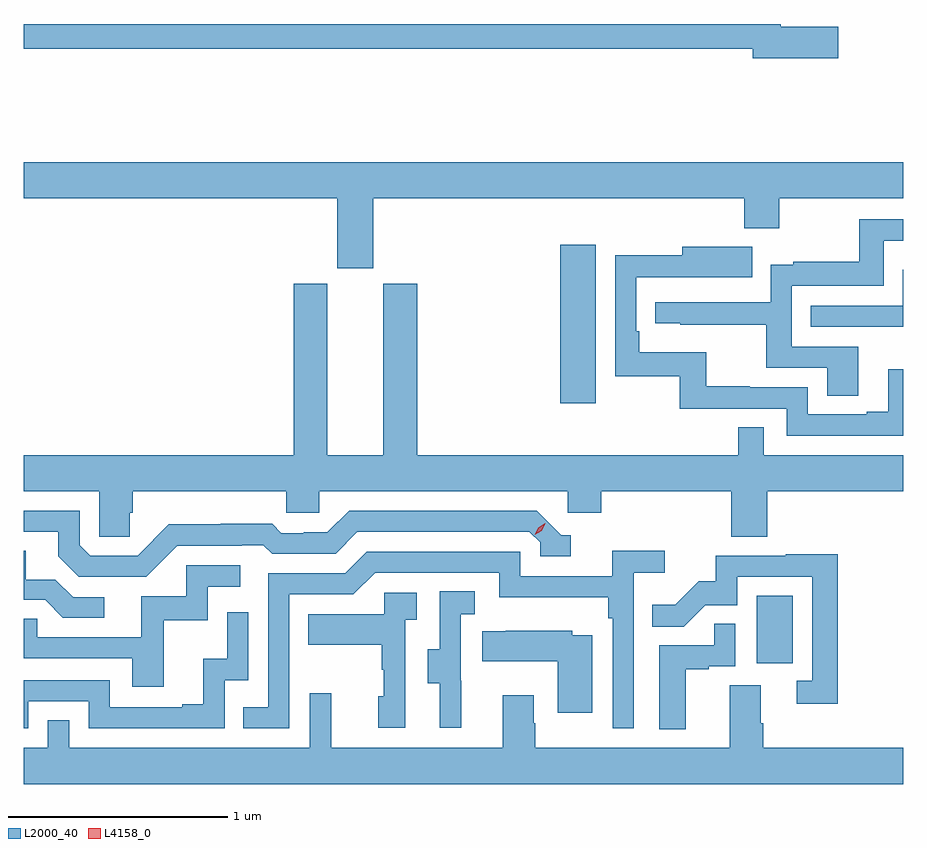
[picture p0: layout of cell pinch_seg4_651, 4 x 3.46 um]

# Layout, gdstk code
import gdstk
lib = gdstk.Library(unit=1e-6, precision=1e-09)
def R(c, l, rs):  # rectangles x0, y0, x1, y1
    for r in rs: c.add(gdstk.rectangle(r[:2], r[2:], *l))
def P(c, l, *ps):  # polygons
    for p in ps: c.add(gdstk.Polygon(p, *l))
L2000_40 = (2000, 40)
L4158_0 = (4158, 0)

pinch_seg4_651 = lib.new_cell('pinch_seg4_651')
R(pinch_seg4_651, L2000_40, [(1058.468,753.414,1058.632,753.721), (1057.574,754.596,1057.735,755.317)])
P(pinch_seg4_651, L2000_40, [(1058.839,756.308),(1058.578,756.308),(1058.578,756.321),(1055.134,756.321),(1055.134,756.208),(1058.45,756.208),(1058.45,756.166),(1058.839,756.166)],
  [(1056.724,755.528),(1058.411,755.528),(1058.411,755.393),(1058.571,755.393),(1058.571,755.528),(1059.134,755.528),(1059.134,755.692),(1055.134,755.692),(1055.134,755.528),(1056.56,755.528),(1056.56,755.211),(1056.724,755.211)],
  [(1058.929,754.854),(1058.628,754.854),(1058.628,755.13),(1059.045,755.13),(1059.045,755.336),(1059.134,755.336),(1059.134,755.433),(1058.934,755.433),(1058.934,755.239),(1058.635,755.239),(1058.635,755.227),(1058.532,755.227),(1058.532,755.055),(1058.007,755.055),(1058.007,754.959),(1058.119,754.959),(1058.119,754.954),(1058.512,754.954),(1058.512,754.758),(1058.789,754.758),(1058.789,754.63),(1058.929,754.63)],
  [(1059.134,754.751),(1059.065,754.751),(1059.065,754.558),(1058.969,754.558),(1058.969,754.545),(1058.7,754.545),(1058.7,754.668),(1058.435,754.668),(1058.435,754.673),(1058.239,754.673),(1058.239,754.828),(1057.934,754.828),(1057.934,754.924),(1057.92,754.924),(1057.92,755.169),(1058.233,755.169),(1058.233,755.168),(1058.447,755.168),(1058.447,755.308),(1058.129,755.308),(1058.129,755.27),(1057.824,755.27),(1057.824,754.719),(1058.118,754.719),(1058.118,754.572),(1058.604,754.572),(1058.604,754.449),(1059.134,754.449)],
  [(1059.134,755.203),(1059.132,755.203),(1059.132,755.04),(1058.713,755.04),(1058.713,754.944),(1059.134,754.944)],
  [(1055.615,754.098),(1055.63,754.098),(1055.63,754.196),(1056.327,754.196),(1056.327,754.098),(1056.477,754.098),(1056.477,754.196),(1057.608,754.196),(1057.608,754.098),(1057.76,754.098),(1057.76,754.196),(1058.351,754.196),(1058.351,753.988),(1058.516,753.988),(1058.516,754.196),(1059.134,754.196),(1059.134,754.36),(1058.499,754.36),(1058.499,754.487),(1058.383,754.487),(1058.383,754.36),(1056.923,754.36),(1056.923,755.139),(1056.77,755.139),(1056.77,754.36),(1056.514,754.36),(1056.514,755.139),(1056.362,755.139),(1056.362,754.36),(1055.134,754.36),(1055.134,754.196),(1055.478,754.196),(1055.478,753.988),(1055.615,753.988)],
  [(1055.832,753.948),(1056.125,753.948),(1056.125,753.951),(1056.224,753.951),(1056.263,753.912),(1056.552,753.912),(1056.651,754.011),(1057.434,754.011),(1057.482,753.963),(1057.482,753.9),(1057.621,753.9),(1057.621,753.996),(1057.578,753.996),(1057.467,754.107),(1056.614,754.107),(1056.515,754.008),(1056.408,754.008),(1056.408,754.005),(1056.305,754.005),(1056.263,754.048),(1056.03,754.048),(1056.03,754.045),(1055.794,754.045),(1055.652,753.903),(1055.436,753.903),(1055.388,753.951),(1055.388,754.107),(1055.134,754.107),(1055.134,754.011),(1055.291,754.011),(1055.291,753.901),(1055.385,753.807),(1055.691,753.807)],
  [(1055.5,753.714),(1055.358,753.714),(1055.278,753.794),(1055.143,753.794),(1055.143,753.926),(1055.134,753.926),(1055.134,753.702),(1055.231,753.702),(1055.312,753.621),(1055.5,753.621)],
  [(1056.342,753.726),(1056.633,753.726),(1056.732,753.825),(1057.296,753.825),(1057.296,753.713),(1057.792,753.713),(1057.792,753.617),(1057.812,753.617),(1057.812,753.117),(1057.908,753.117),(1057.908,753.824),(1058.05,753.824),(1058.05,753.926),(1057.811,753.926),(1057.811,753.81),(1057.392,753.81),(1057.392,753.921),(1056.695,753.921),(1056.596,753.822),(1056.246,753.822),(1056.246,753.213),(1056.133,753.213),(1056.133,753.117),(1056.342,753.117)],
  [(1058.837,753.908),(1058.599,753.908),(1058.599,753.903),(1058.281,753.903),(1058.281,753.786),(1058.204,753.786),(1058.097,753.679),(1057.993,753.679),(1057.993,753.58),(1058.136,753.58),(1058.234,753.678),(1058.379,753.678),(1058.379,753.807),(1058.721,753.807),(1058.721,753.333),(1058.649,753.333),(1058.649,753.228),(1058.837,753.228)],
  [(1055.771,753.609),(1055.97,753.609),(1055.97,753.762),(1056.118,753.762),(1056.118,753.858),(1055.874,753.858),(1055.874,753.717),(1055.669,753.717),(1055.669,753.531),(1055.195,753.531),(1055.195,753.615),(1055.134,753.615),(1055.134,753.435),(1055.627,753.435),(1055.627,753.306),(1055.771,753.306)],
  [(1057.124,753.333),(1057.122,753.333),(1057.122,753.637),(1057.186,753.637),(1057.186,753.74),(1057.026,753.74),(1057.026,753.477),(1056.971,753.477),(1056.971,753.322),(1057.025,753.322),(1057.025,753.12),(1057.124,753.12)],
  [(1056.87,753.611),(1056.922,753.611),(1056.922,753.735),(1056.774,753.735),(1056.774,753.637),(1056.427,753.637),(1056.427,753.497),(1056.762,753.497),(1056.762,753.383),(1056.772,753.383),(1056.772,753.264),(1056.746,753.264),(1056.746,753.12),(1056.87,753.12)],
  [(1055.154,753.24),(1055.43,753.24),(1055.43,753.117),(1056.048,753.117),(1056.048,753.336),(1056.156,753.336),(1056.156,753.646),(1056.06,753.646),(1056.06,753.434),(1055.951,753.434),(1055.951,753.226),(1055.855,753.226),(1055.855,753.213),(1055.526,753.213),(1055.526,753.336),(1055.134,753.336),(1055.134,753.117),(1055.154,753.117)],
  [(1058.146,753.387),(1058.249,753.387),(1058.249,753.399),(1058.37,753.399),(1058.37,753.593),(1058.275,753.593),(1058.275,753.495),(1058.024,753.495),(1058.024,753.113),(1058.146,753.113)],
  [(1057.72,753.541),(1057.629,753.541),(1057.629,753.562),(1057.327,753.562),(1057.327,753.559),(1057.219,753.559),(1057.219,753.422),(1057.562,753.422),(1057.562,753.189),(1057.72,753.189)],
  [(1059.134,753.028),(1058.498,753.028),(1058.498,753.14),(1058.485,753.14),(1058.485,753.314),(1058.345,753.314),(1058.345,753.028),(1057.461,753.028),(1057.461,753.14),(1057.453,753.14),(1057.453,753.268),(1057.313,753.268),(1057.313,753.028),(1056.533,753.028),(1056.533,753.277),(1056.435,753.277),(1056.435,753.028),(1055.34,753.028),(1055.34,753.155),(1055.244,753.155),(1055.244,753.028),(1055.134,753.028),(1055.134,752.864),(1059.134,752.864)])
P(pinch_seg4_651, L4158_0, [(1057.458,753.997),(1057.458,753.997),(1057.474,754.029),(1057.505,754.049),(1057.505,754.049),(1057.505,754.049),(1057.489,754.016),(1057.458,753.997)])

lib.write_gds('pinch_seg4_651.gds')
